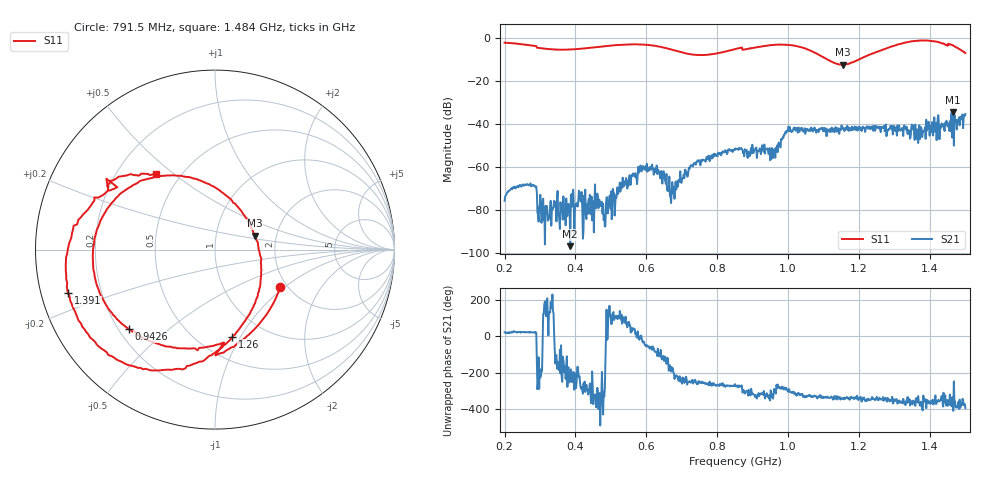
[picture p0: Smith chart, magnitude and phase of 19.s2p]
! NanoVNA-App
! Date: 2024-06-25 16:53:32
! Start: 200MHz Stop: 1.5GHz Points: 801
! S-Parameter data: F S11 S21 S12 S22
# Hz S RI R 50
!  Frequency  S11_Real  S11_Imag  S21_Real  S21_Imag  S12_Real  S12_Imag  S22_Real  S22_Imag
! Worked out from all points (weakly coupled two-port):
!   801 points, 200 MHz to 1.5 GHz, reference 50 ohm
!   highest |S21| = -34.53 dB at 1.466 GHz (marker M1); lowest = -96.7 dB at 385.2 MHz (marker M2)
!   lowest |S11| = -12.6 dB at 1.155 GHz (marker M3), VSWR 1.61, Z = 77.1 + j12.5 ohm
!   |S11| at or under -10 dB: 1.109 GHz to 1.201 GHz (92.7 MHz wide, 8.03 % of centre)
!   S12 and S22 are empty: the file has one direction only
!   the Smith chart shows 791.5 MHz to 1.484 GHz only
!   S11 on the Smith chart (normalised r, x): 791.5 MHz: 1.85, -0.92; 942.6 MHz: 0.24, -0.37; 1.26 GHz: 0.72, -0.93; 1.391 GHz: 0.08, -0.14; 1.484 GHz: 0.37, +0.43
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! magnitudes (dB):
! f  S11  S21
! 200 MHz  -2.4  -75.7
! 266.6 MHz  -3.5  -68.2
! 284.5 MHz  -3.9  -68.6
! 299.1 MHz  -4.9  -77.9
! 385.2 MHz  -5.5  -96.7
! 417.8 MHz  -5.1  -71.6
! 477.9 MHz  -4.1  -77.0
! 583.5 MHz  -3.2  -59.3
! 633.9 MHz  -4.1  -62.8
! 672.9 MHz  -5.7  -67.0
! 791.5 MHz  -7.6  -53.8
! 850 MHz  -5.4  -52.1
! 942.6 MHz  -3.7  -51.8
! 999.5 MHz  -3.4  -43.4
! 1.068 GHz  -6.4  -42.2
! 1.155 GHz  -12.6  -42.6
! 1.26 GHz  -6.1  -42.0
! 1.284 GHz  -4.6  -42.4
! 1.391 GHz  -1.4  -43.2
! 1.466 GHz  -3.7  -34.5
! 1.484 GHz  -5.4  -40.7
! 1.5 GHz  -7.2  -35.4
